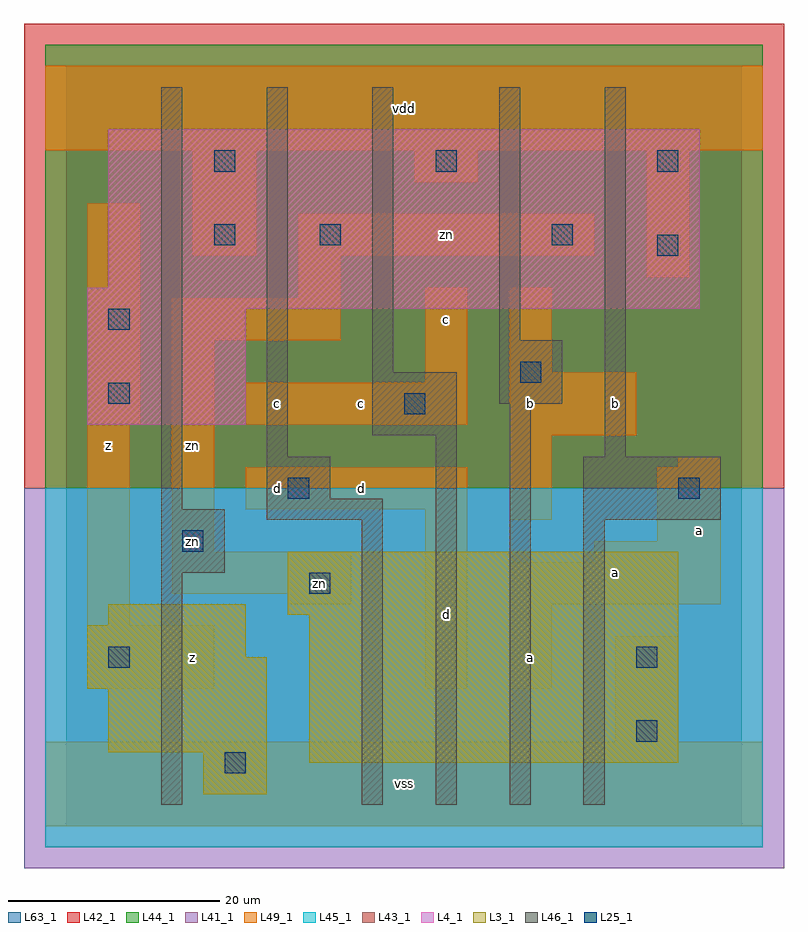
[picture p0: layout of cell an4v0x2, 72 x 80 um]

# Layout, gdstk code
import gdstk
lib = gdstk.Library(unit=1e-6, precision=1e-09)
def R(c, l, rs):  # rectangles x0, y0, x1, y1
    for r in rs: c.add(gdstk.rectangle(r[:2], r[2:], *l))
def A(c, l, x, y, w, h, nx, ny, dx, dy):  # array of equal rectangles
    R(c, l, [(x+i*dx, y+j*dy, x+i*dx+w, y+j*dy+h) for i in range(nx) for j in range(ny)])
L3_1 = (3, 1)
L4_1 = (4, 1)
L25_1 = (25, 1)
L41_1 = (41, 1)
L42_1 = (42, 1)
L43_1 = (43, 1)
L44_1 = (44, 1)
L45_1 = (45, 1)
L46_1 = (46, 1)
L49_1 = (49, 1)
L63_1 = (63, 1)

an4v0x2 = lib.new_cell('an4v0x2')
R(an4v0x2, L3_1, [(13,3,19,7), (23,6,58,20), (4,7,19,13), (2,13,19,16), (2,16,17,19), (4,19,17,21), (21,20,58,26)])
R(an4v0x2, L4_1, [(2,38,17,49), (2,49,60,51), (4,51,60,66)])
A(an4v0x2, L25_1, 14, 62, 2, 2, 3, 1, 21, 0)
R(an4v0x2, L25_1, [(15,5,17,7), (54,8,56,10), (4,15,6,17), (54,15,56,17), (23,22,25,24), (11,26,13,28), (21,31,23,33), (58,31,60,33), (32,39,34,41), (4,40,6,42), (43,42,45,44), (4,47,6,49), (56,54,58,56), (14,55,16,57), (24,55,26,57), (46,55,48,57)])
R(an4v0x2, L41_1, [(-4,-4,68,32)])
R(an4v0x2, L42_1, [(-4,32,68,76)])
R(an4v0x2, L43_1, [(13,3,19,7), (23,6,58,20), (4,7,19,13), (2,13,19,16), (2,16,17,19), (4,19,17,21), (21,20,58,26), (2,38,17,49), (2,49,60,51), (4,51,60,66)])
R(an4v0x2, L44_1, [(-2,32,66,74)])
R(an4v0x2, L45_1, [(-2,-2,66,32)])
R(an4v0x2, L46_1, [(9,2,11,24), (28,2,30,29), (35,2,37,37), (42,2,44,40), (49,2,51,29), (9,24,15,30), (19,29,30,31), (49,29,62,35), (9,30,11,70), (19,31,25,35), (19,35,21,70), (51,35,53,70), (29,37,37,43), (41,40,47,46), (29,43,31,70), (41,46,43,70)])
R(an4v0x2, L49_1, [(-2,0,66,8), (52,8,58,18), (2,13,14,19), (34,13,38,30), (42,13,46,21), (2,19,6,38), (21,21,27,22), (42,21,62,25), (10,22,27,26), (50,25,62,27), (10,26,14,46), (56,27,62,34), (42,29,46,37), (17,30,38,34), (58,34,62,35), (42,37,54,43), (2,38,7,59), (17,38,38,42), (34,42,38,51), (42,43,46,51), (10,46,26,50), (22,50,26,54), (55,52,59,64), (12,54,18,64), (22,54,50,58), (33,61,39,64), (-2,64,66,72)])
R(an4v0x2, L63_1, [(0,0,64,72)])
an4v0x2.add(gdstk.Label('zn', (12,27), layer=49, texttype=1))
an4v0x2.add(gdstk.Label('z', (12,16), layer=49, texttype=1))
an4v0x2.add(gdstk.Label('z', (4,36), layer=49, texttype=1))
an4v0x2.add(gdstk.Label('zn', (12,36), layer=49, texttype=1))
an4v0x2.add(gdstk.Label('zn', (24,23), layer=49, texttype=1))
an4v0x2.add(gdstk.Label('d', (20,32), layer=49, texttype=1))
an4v0x2.add(gdstk.Label('d', (28,32), layer=49, texttype=1))
an4v0x2.add(gdstk.Label('c', (20,40), layer=49, texttype=1))
an4v0x2.add(gdstk.Label('c', (28,40), layer=49, texttype=1))
an4v0x2.add(gdstk.Label('vss', (32,4), layer=49, texttype=1))
an4v0x2.add(gdstk.Label('a', (44,16), layer=49, texttype=1))
an4v0x2.add(gdstk.Label('d', (36,20), layer=49, texttype=1))
an4v0x2.add(gdstk.Label('b', (44,40), layer=49, texttype=1))
an4v0x2.add(gdstk.Label('c', (36,48), layer=49, texttype=1))
an4v0x2.add(gdstk.Label('vdd', (32,68), layer=49, texttype=1))
an4v0x2.add(gdstk.Label('a', (52,24), layer=49, texttype=1))
an4v0x2.add(gdstk.Label('a', (60,28), layer=49, texttype=1))
an4v0x2.add(gdstk.Label('b', (52,40), layer=49, texttype=1))
an4v0x2.add(gdstk.Label('zn', (36,56), layer=49, texttype=1))

lib.write_gds('an4v0x2.gds')
